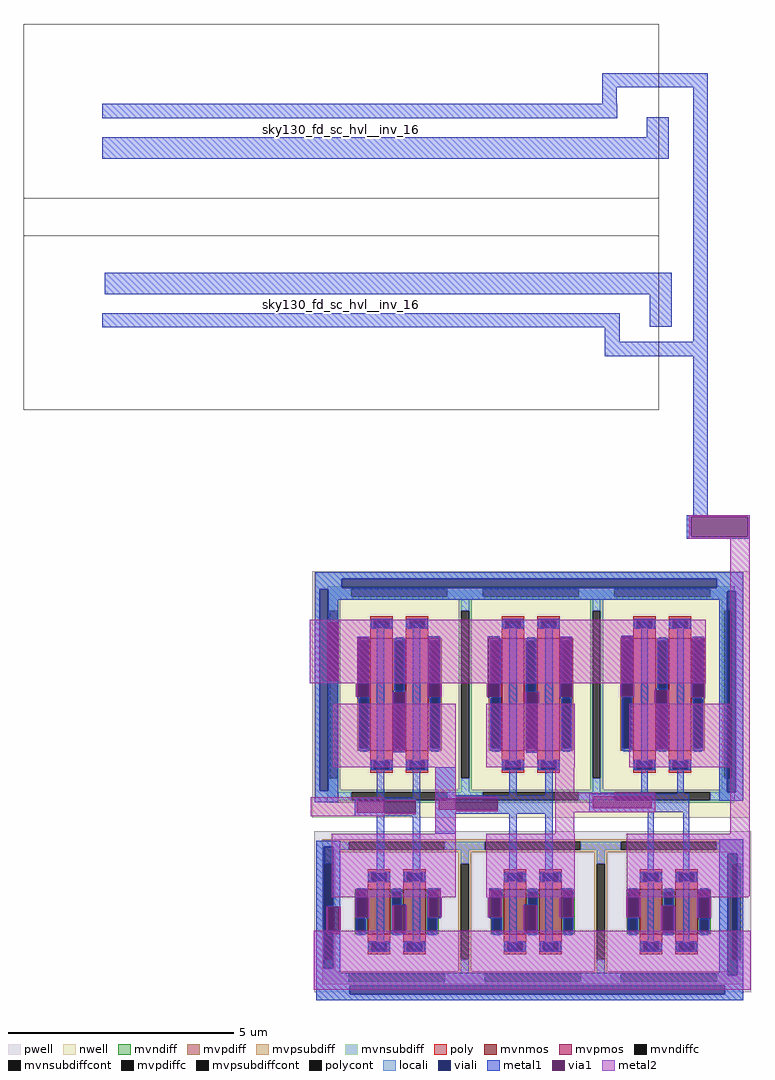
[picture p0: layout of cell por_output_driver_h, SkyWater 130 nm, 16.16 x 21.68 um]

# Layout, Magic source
magic
tech sky130A
magscale 1 2
<< locali >>
rect 26884 -291054 28788 -291024
rect 26884 -291092 27004 -291054
rect 28670 -291092 28788 -291054
rect 26884 -291100 28788 -291092
rect 26884 -291994 26906 -291100
rect 26944 -291108 28788 -291100
rect 26944 -291146 28716 -291108
rect 26944 -291994 26990 -291146
rect 26884 -292046 26990 -291994
rect 28682 -292002 28716 -291146
rect 28754 -292002 28788 -291108
rect 28682 -292040 28788 -292002
rect 26892 -292244 26998 -292216
rect 26892 -292784 26924 -292244
rect 26966 -292784 26998 -292244
rect 26892 -292802 26998 -292784
rect 28682 -292274 28788 -292210
rect 28682 -292802 28720 -292274
rect 26892 -292814 28720 -292802
rect 28762 -292814 28788 -292274
rect 26892 -292860 28788 -292814
rect 26892 -292898 27040 -292860
rect 28706 -292898 28788 -292860
rect 26892 -292924 28788 -292898
<< viali >>
rect 27004 -291092 28670 -291054
rect 26906 -291994 26944 -291100
rect 28716 -292002 28754 -291108
rect 26924 -292784 26966 -292244
rect 28720 -292814 28762 -292274
rect 27040 -292898 28706 -292860
<< metal1 >>
rect 28162 -288871 28630 -288807
rect 28162 -288943 28226 -288871
rect 25940 -289007 28228 -288943
rect 28360 -289091 28457 -289004
rect 25940 -289188 28457 -289091
rect 25953 -289790 28470 -289693
rect 25940 -289937 28240 -289873
rect 28373 -289934 28470 -289790
rect 28174 -290000 28240 -289937
rect 28566 -290000 28630 -288871
rect 28174 -290064 28630 -290000
rect 28566 -290771 28630 -290064
rect 28547 -290772 28816 -290771
rect 28537 -290778 28816 -290772
rect 28537 -290866 28557 -290778
rect 28807 -290866 28816 -290778
rect 28537 -290875 28816 -290866
rect 26884 -291054 28788 -291024
rect 26884 -291092 27004 -291054
rect 28670 -291092 28788 -291054
rect 26884 -291100 28788 -291092
rect 26884 -291994 26906 -291100
rect 26944 -291108 28788 -291100
rect 26944 -291146 28716 -291108
rect 26944 -291994 26990 -291146
rect 26884 -292046 26990 -291994
rect 27160 -292024 27194 -291250
rect 27320 -292024 27354 -291252
rect 27062 -292108 27354 -292024
rect 26892 -292244 26998 -292216
rect 26892 -292784 26924 -292244
rect 26966 -292784 26998 -292244
rect 27160 -292694 27194 -292108
rect 27320 -292696 27354 -292108
rect 27420 -292014 27512 -291890
rect 27748 -292014 27782 -291252
rect 27908 -292014 27942 -291252
rect 28335 -292007 28363 -291240
rect 28495 -292006 28523 -291240
rect 28682 -292002 28716 -291146
rect 28754 -292002 28788 -291108
rect 28495 -292007 28549 -292006
rect 27420 -292096 27942 -292014
rect 28105 -292089 28549 -292007
rect 28682 -292040 28788 -292002
rect 27420 -292186 27512 -292096
rect 27748 -292696 27782 -292096
rect 27908 -292696 27942 -292096
rect 28363 -292699 28391 -292089
rect 28521 -292693 28549 -292089
rect 28682 -292274 28788 -292210
rect 26892 -292802 26998 -292784
rect 28682 -292802 28720 -292274
rect 26892 -292814 28720 -292802
rect 28762 -292814 28788 -292274
rect 26892 -292860 28788 -292814
rect 26892 -292898 27040 -292860
rect 28706 -292898 28788 -292860
rect 26892 -292924 28788 -292898
<< via1 >>
rect 28557 -290866 28807 -290778
<< metal2 >>
rect 28547 -290778 28816 -290771
rect 28547 -290866 28557 -290778
rect 28807 -290866 28816 -290778
rect 28547 -290875 28816 -290866
rect 26862 -291518 28622 -291236
rect 28730 -291608 28816 -290875
rect 26964 -291890 27512 -291608
rect 27646 -291890 28039 -291608
rect 28281 -291890 28816 -291608
rect 26866 -292108 27194 -292024
rect 27420 -292186 27512 -291890
rect 27954 -292004 28037 -291890
rect 27954 -292089 28397 -292004
rect 27954 -292186 28037 -292089
rect 28730 -292186 28816 -291890
rect 26960 -292468 27512 -292186
rect 27646 -292468 28039 -292186
rect 28270 -292464 28816 -292186
rect 28270 -292468 28810 -292464
rect 26880 -292878 28822 -292616
use por_via_2cut  por_via_2cut_0
transform 0 1 34868 -1 0 -276416
box 16088 -7932 16222 -7868
use por_via_2cut  por_via_2cut_1
transform 0 1 36200 -1 0 -276341
box 16088 -7932 16222 -7868
use por_via_2cut  por_via_2cut_2
transform 0 1 35903 -1 0 -276340
box 16088 -7932 16222 -7868
use por_via_2cut  por_via_2cut_3
transform 0 1 35585 -1 0 -276340
box 16088 -7932 16222 -7868
use por_via_2cut  por_via_2cut_4
transform 0 1 35318 -1 0 -276340
box 16088 -7932 16222 -7868
use por_via_2cut  por_via_2cut_5
transform 0 1 34996 -1 0 -276341
box 16088 -7932 16222 -7868
use por_via_2cut  por_via_2cut_6
transform 0 1 35162 -1 0 -276410
box 16088 -7932 16222 -7868
use por_via_2cut  por_via_2cut_7
transform 0 1 35742 -1 0 -276410
box 16088 -7932 16222 -7868
use por_via_2cut  por_via_2cut_8
transform 0 1 36514 -1 0 -276343
box 16088 -7932 16222 -7868
use por_via_2cut  por_via_2cut_9
transform 0 1 36354 -1 0 -276412
box 16088 -7932 16222 -7868
use por_via_4cut  por_via_4cut_0
transform 0 1 35160 -1 0 -275602
box 15948 -7932 16222 -7868
use por_via_4cut  por_via_4cut_1
transform -1 0 43288 0 -1 -299966
box 15948 -7932 16222 -7868
use por_via_4cut  por_via_4cut_2
transform 0 1 36173 -1 0 -275358
box 15948 -7932 16222 -7868
use por_via_4cut  por_via_4cut_3
transform 0 1 36488 -1 0 -275363
box 15948 -7932 16222 -7868
use por_via_4cut  por_via_4cut_4
transform -1 0 44336 0 -1 -299946
box 15948 -7932 16222 -7868
use por_via_4cut  por_via_4cut_5
transform 0 1 34866 -1 0 -275292
box 15948 -7932 16222 -7868
use por_via_4cut  por_via_4cut_6
transform 0 1 35902 -1 0 -275362
box 15948 -7932 16222 -7868
use por_via_4cut  por_via_4cut_7
transform 0 1 35580 -1 0 -275360
box 15948 -7932 16222 -7868
use por_via_4cut  por_via_4cut_8
transform 0 1 35316 -1 0 -275360
box 15948 -7932 16222 -7868
use por_via_4cut  por_via_4cut_9
transform 0 1 35000 -1 0 -275362
box 15948 -7932 16222 -7868
use por_via_4cut  por_via_4cut_10
transform -1 0 43652 0 -1 -299954
box 15948 -7932 16222 -7868
use por_via_4cut  por_via_4cut_15
transform 0 1 35750 -1 0 -275604
box 15948 -7932 16222 -7868
use por_via_4cut  por_via_4cut_16
transform 0 1 36325 -1 0 -275594
box 15948 -7932 16222 -7868
use sky130_fd_pr__nfet_g5v0d10v5_X6E435  sky130_fd_pr__nfet_g5v0d10v5_X6E435_0 paramcells
transform 1 0 27249 0 1 -292532
box -367 -358 367 358
use sky130_fd_pr__nfet_g5v0d10v5_X6E435  sky130_fd_pr__nfet_g5v0d10v5_X6E435_1
transform 1 0 27853 0 1 -292532
box -367 -358 367 358
use sky130_fd_pr__nfet_g5v0d10v5_X6E435  sky130_fd_pr__nfet_g5v0d10v5_X6E435_2
transform 1 0 28457 0 1 -292532
box -367 -358 367 358
use sky130_fd_pr__pfet_g5v0d10v5_CAF9E7  sky130_fd_pr__pfet_g5v0d10v5_CAF9E7_0 paramcells
transform 1 0 27845 0 1 -291567
box -387 -547 387 547
use sky130_fd_pr__pfet_g5v0d10v5_CAF9E7  sky130_fd_pr__pfet_g5v0d10v5_CAF9E7_1
transform 1 0 27261 0 1 -291567
box -387 -547 387 547
use sky130_fd_pr__pfet_g5v0d10v5_CAF9E7  sky130_fd_pr__pfet_g5v0d10v5_CAF9E7_2
transform 1 0 28429 0 1 -291567
box -387 -547 387 547
use sky130_fd_sc_hvl__inv_16  sky130_fd_sc_hvl__inv_16_0 $PDKPATH/libs.ref/sky130_fd_sc_hvl/mag
transform 1 0 25658 0 -1 -288632
box -66 -43 2754 897
use sky130_fd_sc_hvl__inv_16  sky130_fd_sc_hvl__inv_16_1
transform 1 0 25658 0 1 -290260
box -66 -43 2754 897
<< end >>

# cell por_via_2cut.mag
magic
tech sky130A
<< metal1 >>
rect 8044 -3963 8047 -3937
rect 8108 -3963 8111 -3937
<< via1 >>
rect 8047 -3963 8108 -3937
<< metal2 >>
rect 8047 -3937 8108 -3934
rect 8047 -3966 8108 -3963
<< end >>

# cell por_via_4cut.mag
magic
tech sky130A
<< metal1 >>
rect 7974 -3963 7977 -3937
rect 8108 -3963 8111 -3937
<< via1 >>
rect 7977 -3963 8108 -3937
<< metal2 >>
rect 7977 -3937 8108 -3934
rect 7977 -3966 8108 -3963
<< end >>

# cell sky130_fd_pr__nfet_g5v0d10v5_X6E435: kit device sky130_fd_pr__nfet_g5v0d10v5, w 1 l 0.50 m 1 nf 2 diffcov 100 polycov 100 guard 1 glc 1 grc 1 gtc 1 gbc 1 tbcov 100 rlcov 100 topc 1 botc 1 poverlap 0 doverlap 1 lmin 0.50 wmin 0.42 compatible {sky130_fd_pr__nfet_01v8 sky130_fd_pr__nfet_01v8_lvt sky130_fd_bs_flash__special_sonosfet_star sky130_fd_pr__nfet_g5v0d10v5 sky130_fd_pr__nfet_05v0_nvt sky130_fd_pr__nfet_03v3_nvt} full_metal 1 viasrc 100 viadrn 100 viagate 100 viagb 0 viagr 0 viagl 0 viagt 0

# cell sky130_fd_pr__pfet_g5v0d10v5_CAF9E7: kit device sky130_fd_pr__pfet_g5v0d10v5, w 2.5 l 0.50 m 1 nf 2 diffcov 100 polycov 100 guard 1 glc 1 grc 1 gtc 1 gbc 1 tbcov 100 rlcov 100 topc 1 botc 1 poverlap 0 doverlap 1 lmin 0.50 wmin 0.42 compatible {sky130_fd_pr__pfet_01v8 sky130_fd_pr__pfet_01v8_lvt sky130_fd_pr__pfet_01v8_hvt sky130_fd_pr__pfet_g5v0d10v5} full_metal 1 viasrc 100 viadrn 100 viagate 100 viagb 0 viagr 0 viagl 0 viagt 0
